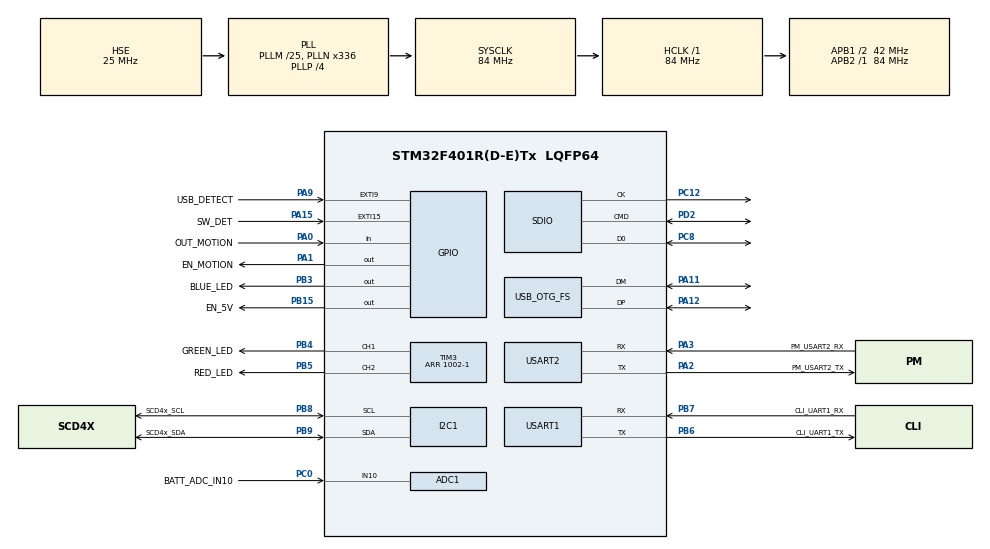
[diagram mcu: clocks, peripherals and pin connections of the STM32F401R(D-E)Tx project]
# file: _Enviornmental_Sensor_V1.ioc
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ADC1.Channel-0\#ChannelRegularConversion=ADC_CHANNEL_10
ADC1.NbrOfConversionFlag=1
ADC1.Rank-0\#ChannelRegularConversion=1
ADC1.SamplingTime-0\#ChannelRegularConversion=ADC_SAMPLETIME_3CYCLES
ADC1.master=1
Dma.Request0=TIM1_UP
Dma.TIM1_UP.0.Direction=DMA_MEMORY_TO_PERIPH
Dma.TIM1_UP.0.FIFOMode=DMA_FIFOMODE_DISABLE
Dma.TIM1_UP.0.Instance=DMA2_Stream5
Dma.TIM1_UP.0.MemDataAlignment=DMA_MDATAALIGN_WORD
Dma.TIM1_UP.0.MemInc=DMA_MINC_ENABLE
Dma.TIM1_UP.0.Mode=DMA_CIRCULAR
Dma.TIM1_UP.0.PeriphDataAlignment=DMA_PDATAALIGN_WORD
Dma.TIM1_UP.0.PeriphInc=DMA_PINC_DISABLE
Dma.TIM1_UP.0.Priority=DMA_PRIORITY_LOW
FATFS._USE_LFN=1
I2C1.I2C_Mode=I2C_Standard
IWDG.Prescaler=IWDG_PRESCALER_256
Mcu.Family=STM32F4
Mcu.Name=STM32F401R(D-E)Tx
Mcu.Package=LQFP64
NVIC.DMA2_Stream5_IRQn=true\:0\:0\:false\:false\:true\:false\:true\:true
NVIC.EXTI15_10_IRQn=true\:0\:0\:false\:false\:true\:true\:true\:true
NVIC.EXTI9_5_IRQn=true\:0\:0\:false\:false\:true\:true\:true\:true
NVIC.OTG_FS_IRQn=true\:0\:0\:false\:false\:true\:false\:true\:true
NVIC.PriorityGroup=NVIC_PRIORITYGROUP_4
NVIC.RTC_Alarm_IRQn=true\:0\:0\:false\:false\:true\:true\:true\:true
NVIC.TIM2_IRQn=true\:0\:0\:false\:false\:true\:true\:true\:true
NVIC.USART1_IRQn=true\:0\:0\:false\:false\:true\:true\:true\:true
NVIC.USART2_IRQn=true\:0\:0\:false\:false\:true\:true\:true\:true
PA0-WKUP.GPIO_Label=OUT_MOTION
PA0-WKUP.Signal=GPIO_Input
PA1.GPIO_Label=EN_MOTION
PA1.GPIO_Speed=GPIO_SPEED_FREQ_HIGH
PA1.PinState=GPIO_PIN_RESET
PA1.Signal=GPIO_Output
PA11.Mode=Device_Only
PA11.Signal=USB_OTG_FS_DM
PA12.Mode=Device_Only
PA12.Signal=USB_OTG_FS_DP
PA13.Mode=Serial_Wire
PA13.Signal=SYS_JTMS-SWDIO
PA14.Mode=Serial_Wire
PA14.Signal=SYS_JTCK-SWCLK
PA15.GPIO_Label=SW_DET
PA15.GPIO_ModeDefaultEXTI=GPIO_MODE_IT_FALLING
PA15.GPIO_PuPd=GPIO_PULLUP
PA15.Signal=GPXTI15
PA2.GPIO_Label=PM_USART2_TX
PA2.Mode=Asynchronous
PA2.Signal=USART2_TX
PA3.GPIO_Label=PM_USART2_RX
PA3.Mode=Asynchronous
PA3.Signal=USART2_RX
PA9.GPIO_Label=USB_DETECT
PA9.GPIO_PuPd=GPIO_PULLDOWN
PA9.Signal=GPXTI9
PB15.GPIO_Label=EN_5V
PB15.GPIO_Speed=GPIO_SPEED_FREQ_HIGH
PB15.PinState=GPIO_PIN_SET
PB15.Signal=GPIO_Output
PB3.GPIO_Label=BLUE_LED
PB3.Signal=GPIO_Output
PB4.GPIO_Label=GREEN_LED
PB4.Signal=S_TIM3_CH1
PB5.GPIO_Label=RED_LED
PB5.Signal=S_TIM3_CH2
PB6.GPIO_Label=CLI_UART1_TX
PB6.Mode=Asynchronous
PB6.Signal=USART1_TX
PB7.GPIO_Label=CLI_UART1_RX
PB7.Mode=Asynchronous
PB7.Signal=USART1_RX
PB8.GPIO_Label=SCD4x_SCL
PB8.Mode=I2C
PB8.Signal=I2C1_SCL
PB9.GPIO_Label=SCD4x_SDA
PB9.Mode=I2C
PB9.Signal=I2C1_SDA
PC0.GPIO_Label=BATT_ADC_IN10
PC0.Signal=ADCx_IN10
PC12.Mode=SD_1_bit
PC12.Signal=SDIO_CK
PC14-OSC32_IN.Mode=LSE-External-Oscillator
PC14-OSC32_IN.Signal=RCC_OSC32_IN
PC15-OSC32_OUT.Mode=LSE-External-Oscillator
PC15-OSC32_OUT.Signal=RCC_OSC32_OUT
PC8.Mode=SD_1_bit
PC8.Signal=SDIO_D0
PD2.Mode=SD_1_bit
PD2.Signal=SDIO_CMD
PH0\ -\ OSC_IN.Mode=HSE-External-Oscillator
PH0\ -\ OSC_IN.Signal=RCC_OSC_IN
PH1\ -\ OSC_OUT.Mode=HSE-External-Oscillator
PH1\ -\ OSC_OUT.Signal=RCC_OSC_OUT
ProjectManager.HeapSize=0x200
ProjectManager.StackSize=0x400
ProjectManager.TargetToolchain=STM32CubeIDE
RCC.48MHZClocksFreq_Value=48000000
RCC.AHBFreq_Value=84000000
RCC.APB1CLKDivider=RCC_HCLK_DIV2
RCC.APB1Freq_Value=42000000
RCC.APB1TimFreq_Value=84000000
RCC.APB2Freq_Value=84000000
RCC.APB2TimFreq_Value=84000000
RCC.CortexFreq_Value=84000000
RCC.HCLKFreq_Value=84000000
RCC.HSE_VALUE=25000000
RCC.HSI_VALUE=16000000
RCC.PLLM=25
RCC.PLLN=336
RCC.PLLP=RCC_PLLP_DIV4
RCC.PLLQ=7
RCC.RCC_RTC_Clock_Source=RCC_RTCCLKSOURCE_LSE
RCC.RCC_RTC_Clock_SourceVirtual=RCC_RTCCLKSOURCE_LSE
RCC.SYSCLKFreq_VALUE=84000000
RCC.SYSCLKSource=RCC_SYSCLKSOURCE_PLLCLK
RCC.VCOOutputFreq_Value=336000000
RTC.Alarm=RTC_ALARM_A
RTC.AlarmMaskDateWeekDay=RTC_ALARMMASK_DATEWEEKDAY
RTC.AlarmMaskHours=RTC_ALARMMASK_HOURS
RTC.AlarmMaskMinutes=RTC_ALARMMASK_MINUTES
RTC.AlarmMaskSeconds=RTC_ALARMMASK_SECONDS
RTC.Alarm_B=RTC_ALARM_B
RTC.Format=RTC_FORMAT_BIN
SDIO.ClockDiv=5
SH.ADCx_IN10.0=ADC1_IN10,IN10
SH.S_TIM3_CH1.0=TIM3_CH1,PWM Generation1 CH1
SH.S_TIM3_CH2.0=TIM3_CH2,PWM Generation2 CH2
TIM1.CounterMode=TIM_COUNTERMODE_DOWN
TIM1.Period=1002-1
TIM1.TIM_MasterOutputTrigger=TIM_TRGO_UPDATE
TIM2.AutoReloadPreload=TIM_AUTORELOAD_PRELOAD_ENABLE
TIM2.Period=8400
TIM2.Prescaler=1000
TIM3.AutoReloadPreload=TIM_AUTORELOAD_PRELOAD_ENABLE
TIM3.Channel-PWM\ Generation1\ CH1=TIM_CHANNEL_1
TIM3.Channel-PWM\ Generation2\ CH2=TIM_CHANNEL_2
TIM3.CounterMode=TIM_COUNTERMODE_DOWN
TIM3.Period=1002-1
USART1.VirtualMode=VM_ASYNC
USART2.VirtualMode=VM_ASYNC
USB_DEVICE.CLASS_NAME_FS=MSC
USB_DEVICE.MANUFACTURER_STRING-MSC_FS=Stmicroelectronics
USB_DEVICE.MSC_MEDIA_PACKET-MSC_FS=2048
USB_DEVICE.PRODUCT_STRING_MSC_FS=Stm32 Mass Storage
USB_DEVICE.USBD_MAX_STR_DESC_SIZ-MSC_FS=512
USB_DEVICE.VirtualMode-MSC_FS=Msc
USB_DEVICE.VirtualModeFS=Msc_FS
USB_OTG_FS.VirtualMode=Device_Only
USB_OTG_FS.low_power_enable=DISABLE
VP_FATFS_VS_SDIO.Mode=SDIO
VP_IWDG_VS_IWDG.Mode=IWDG_Activate
VP_RTC_VS_RTC_Activate.Mode=RTC_Enabled
VP_RTC_VS_RTC_Alarm_A_Intern.Mode=Alarm A
VP_RTC_VS_RTC_Alarm_B_Intern.Mode=Alarm B
VP_RTC_VS_RTC_Calendar.Mode=RTC_Calendar
VP_TIM1_VS_ClockSourceINT.Mode=Internal
VP_TIM2_VS_ClockSourceINT.Mode=Internal
VP_TIM3_VS_ClockSourceINT.Mode=Internal
VP_USB_DEVICE_VS_USB_DEVICE_MSC_FS.Mode=MSC_FS
board=custom

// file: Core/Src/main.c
/* USER CODE BEGIN Header */
/**
  ******************************************************************************
  * @file           : main.c
  * @brief          : Main program body
  ******************************************************************************
  * @attention
  *
  * Copyright (c) 2023 STMicroelectronics.
  * All rights reserved.
  *
  * This software is licensed under terms that can be found in the LICENSE file
  * in the root directory of this software component.
  * If no LICENSE file comes with this software, it is provided AS-IS.
  *
  ******************************************************************************
  */
/* USER CODE END Header */
#include "main.h"
#include "fatfs.h"
#include "usb_device.h"

/* USER CODE BEGIN Includes */
#include "app_main.h"
#include "Uhr.h"

/* USER CODE END Includes */

ADC_HandleTypeDef hadc1;

I2C_HandleTypeDef hi2c1;

IWDG_HandleTypeDef hiwdg;

RTC_HandleTypeDef hrtc;

SD_HandleTypeDef hsd;

TIM_HandleTypeDef htim1;
TIM_HandleTypeDef htim2;
TIM_HandleTypeDef htim3;
DMA_HandleTypeDef hdma_tim1_up;

UART_HandleTypeDef huart1;
UART_HandleTypeDef huart2;

void SystemClock_Config(void);
static void MX_GPIO_Init(void);
static void MX_DMA_Init(void);
static void MX_SDIO_SD_Init(void);
static void MX_USART1_UART_Init(void);
static void MX_RTC_Init(void);
static void MX_I2C1_Init(void);
static void MX_USART2_UART_Init(void);
static void MX_ADC1_Init(void);
static void MX_IWDG_Init(void);
/* USER CODE BEGIN PFP */
extern  void led_awake_routine();
/* USER CODE END PFP */

int main(void)
{

  /* MCU Configuration--------------------------------------------------------*/

  /* Reset of all peripherals, Initializes the Flash interface and the Systick. */
  HAL_Init();

  /* Configure the system clock */
  SystemClock_Config();

  /* USER CODE BEGIN SysInit */
//comment usb initialization from here
#ifdef Disable
  /* USER CODE END SysInit */

  /* Initialize all configured peripherals */
  MX_GPIO_Init();
  MX_DMA_Init();
  MX_SDIO_SD_Init();
  MX_USART1_UART_Init();
  MX_RTC_Init();
  MX_I2C1_Init();
  MX_TIM2_Init();
  MX_USART2_UART_Init();
  MX_ADC1_Init();
  MX_USB_DEVICE_Init();
  MX_FATFS_Init();
  MX_TIM1_Init();
  MX_TIM3_Init();
  MX_IWDG_Init();
  /* USER CODE BEGIN 2 */
#endif
  HAL_Delay(1000);
  MX_GPIO_Init();
  MX_DMA_Init();
  MX_SDIO_SD_Init();
  MX_USART1_UART_Init();
  MX_RTC_Init();
  MX_I2C1_Init();
  MX_TIM2_Init();
  MX_USART2_UART_Init();
  MX_ADC1_Init();
  MX_FATFS_Init();
  MX_TIM1_Init();
  MX_TIM3_Init();
  MX_IWDG_Init();

  app_main(); //keep mx_usb_device_init off here

  /* USER CODE END 2 */

  /* Infinite loop */
  while (1)
  {

  }
}

void SystemClock_Config(void)
{
  RCC_OscInitTypeDef RCC_OscInitStruct = {0};
  RCC_ClkInitTypeDef RCC_ClkInitStruct = {0};

  /** Configure the main internal regulator output voltage
  */
  __HAL_RCC_PWR_CLK_ENABLE();
  __HAL_PWR_VOLTAGESCALING_CONFIG(PWR_REGULATOR_VOLTAGE_SCALE2);

  /** Initializes the RCC Oscillators according to the specified parameters
  * in the RCC_OscInitTypeDef structure.
  */
  RCC_OscInitStruct.OscillatorType = RCC_OSCILLATORTYPE_LSI|RCC_OSCILLATORTYPE_HSE
                              |RCC_OSCILLATORTYPE_LSE;
  RCC_OscInitStruct.HSEState = RCC_HSE_ON;
  RCC_OscInitStruct.LSEState = RCC_LSE_ON;
  RCC_OscInitStruct.LSIState = RCC_LSI_ON;
  RCC_OscInitStruct.PLL.PLLState = RCC_PLL_ON;
  RCC_OscInitStruct.PLL.PLLSource = RCC_PLLSOURCE_HSE;
  RCC_OscInitStruct.PLL.PLLM = 25;
  RCC_OscInitStruct.PLL.PLLN = 336;
  RCC_OscInitStruct.PLL.PLLP = RCC_PLLP_DIV4;
  RCC_OscInitStruct.PLL.PLLQ = 7;
  if (HAL_RCC_OscConfig(&RCC_OscInitStruct) != HAL_OK)
  {
    Error_Handler();
  }

  /** Initializes the CPU, AHB and APB buses clocks
  */
  RCC_ClkInitStruct.ClockType = RCC_CLOCKTYPE_HCLK|RCC_CLOCKTYPE_SYSCLK
                              |RCC_CLOCKTYPE_PCLK1|RCC_CLOCKTYPE_PCLK2;
  RCC_ClkInitStruct.SYSCLKSource = RCC_SYSCLKSOURCE_PLLCLK;
  RCC_ClkInitStruct.AHBCLKDivider = RCC_SYSCLK_DIV1;
  RCC_ClkInitStruct.APB1CLKDivider = RCC_HCLK_DIV2;
  RCC_ClkInitStruct.APB2CLKDivider = RCC_HCLK_DIV1;

  if (HAL_RCC_ClockConfig(&RCC_ClkInitStruct, FLASH_LATENCY_2) != HAL_OK)
  {
    Error_Handler();
  }
}

static void MX_ADC1_Init(void)
{

  ADC_ChannelConfTypeDef sConfig = {0};

  /** Configure the global features of the ADC (Clock, Resolution, Data Alignment and number of conversion)
  */
  hadc1.Instance = ADC1;
  hadc1.Init.ClockPrescaler = ADC_CLOCK_SYNC_PCLK_DIV4;
  hadc1.Init.Resolution = ADC_RESOLUTION_12B;
  hadc1.Init.ScanConvMode = DISABLE;
  hadc1.Init.ContinuousConvMode = DISABLE;
  hadc1.Init.DiscontinuousConvMode = DISABLE;
  hadc1.Init.ExternalTrigConvEdge = ADC_EXTERNALTRIGCONVEDGE_NONE;
  hadc1.Init.ExternalTrigConv = ADC_SOFTWARE_START;
  hadc1.Init.DataAlign = ADC_DATAALIGN_RIGHT;
  hadc1.Init.NbrOfConversion = 1;
  hadc1.Init.DMAContinuousRequests = DISABLE;
  hadc1.Init.EOCSelection = ADC_EOC_SINGLE_CONV;
  if (HAL_ADC_Init(&hadc1) != HAL_OK)
  {
    Error_Handler();
  }

  /** Configure for the selected ADC regular channel its corresponding rank in the sequencer and its sample time.
  */
  sConfig.Channel = ADC_CHANNEL_10;
  sConfig.Rank = 1;
  sConfig.SamplingTime = ADC_SAMPLETIME_3CYCLES;
  if (HAL_ADC_ConfigChannel(&hadc1, &sConfig) != HAL_OK)
  {
    Error_Handler();
  }

}

static void MX_I2C1_Init(void)
{

  hi2c1.Instance = I2C1;
  hi2c1.Init.ClockSpeed = 100000;
  hi2c1.Init.DutyCycle = I2C_DUTYCYCLE_2;
  hi2c1.Init.OwnAddress1 = 0;
  hi2c1.Init.AddressingMode = I2C_ADDRESSINGMODE_7BIT;
  hi2c1.Init.DualAddressMode = I2C_DUALADDRESS_DISABLE;
  hi2c1.Init.OwnAddress2 = 0;
  hi2c1.Init.GeneralCallMode = I2C_GENERALCALL_DISABLE;
  hi2c1.Init.NoStretchMode = I2C_NOSTRETCH_DISABLE;
  if (HAL_I2C_Init(&hi2c1) != HAL_OK)
  {
    Error_Handler();
  }

}

static void MX_IWDG_Init(void)
{

  /* USER CODE BEGIN IWDG_Init 1 */
  //32sec watchdog period set
  /* USER CODE END IWDG_Init 1 */
  hiwdg.Instance = IWDG;
  hiwdg.Init.Prescaler = IWDG_PRESCALER_256;
  hiwdg.Init.Reload = 4095;
  if (HAL_IWDG_Init(&hiwdg) != HAL_OK)
  {
    Error_Handler();
  }

}

static void MX_RTC_Init(void)
{

  /* USER CODE BEGIN RTC_Init 0 */
#ifdef RTC_disable
  /* USER CODE END RTC_Init 0 */

  RTC_TimeTypeDef sTime = {0};
  RTC_DateTypeDef sDate = {0};
  RTC_AlarmTypeDef sAlarm = {0};

  /* USER CODE BEGIN RTC_Init 1 */
#endif
  /* USER CODE END RTC_Init 1 */

  /** Initialize RTC Only
  */
  hrtc.Instance = RTC;
  hrtc.Init.HourFormat = RTC_HOURFORMAT_24;
  hrtc.Init.AsynchPrediv = 127;
  hrtc.Init.SynchPrediv = 255;
  hrtc.Init.OutPut = RTC_OUTPUT_DISABLE;
  hrtc.Init.OutPutPolarity = RTC_OUTPUT_POLARITY_HIGH;
  hrtc.Init.OutPutType = RTC_OUTPUT_TYPE_OPENDRAIN;
  if (HAL_RTC_Init(&hrtc) != HAL_OK)
  {
    Error_Handler();
  }

  /* USER CODE BEGIN Check_RTC_BKUP */
#ifdef RTC_disable
  /* USER CODE END Check_RTC_BKUP */

  /** Initialize RTC and set the Time and Date
  */
  sTime.Hours = 0;
  sTime.Minutes = 0;
  sTime.Seconds = 0;
  sTime.DayLightSaving = RTC_DAYLIGHTSAVING_NONE;
  sTime.StoreOperation = RTC_STOREOPERATION_RESET;
  if (HAL_RTC_SetTime(&hrtc, &sTime, RTC_FORMAT_BIN) != HAL_OK)
  {
    Error_Handler();
  }
  sDate.WeekDay = RTC_WEEKDAY_MONDAY;
  sDate.Month = RTC_MONTH_JANUARY;
  sDate.Date = 1;
  sDate.Year = 0;

  if (HAL_RTC_SetDate(&hrtc, &sDate, RTC_FORMAT_BIN) != HAL_OK)
  {
    Error_Handler();
  }

  /** Enable the Alarm A
  */
  sAlarm.AlarmTime.Hours = 0;
  sAlarm.AlarmTime.Minutes = 0;
  sAlarm.AlarmTime.Seconds = 0;
  sAlarm.AlarmTime.SubSeconds = 0;
  sAlarm.AlarmTime.DayLightSaving = RTC_DAYLIGHTSAVING_NONE;
  sAlarm.AlarmTime.StoreOperation = RTC_STOREOPERATION_RESET;
  sAlarm.AlarmMask = RTC_ALARMMASK_ALL;
  sAlarm.AlarmSubSecondMask = RTC_ALARMSUBSECONDMASK_ALL;
  sAlarm.AlarmDateWeekDaySel = RTC_ALARMDATEWEEKDAYSEL_DATE;
  sAlarm.AlarmDateWeekDay = 1;
  sAlarm.Alarm = RTC_ALARM_A;
  if (HAL_RTC_SetAlarm_IT(&hrtc, &sAlarm, RTC_FORMAT_BIN) != HAL_OK)
  {
    Error_Handler();
  }

  /** Enable the Alarm B
  */
  sAlarm.AlarmMask = RTC_ALARMMASK_NONE;
  sAlarm.Alarm = RTC_ALARM_B;
  if (HAL_RTC_SetAlarm_IT(&hrtc, &sAlarm, RTC_FORMAT_BIN) != HAL_OK)
  {
    Error_Handler();
  }
  /* USER CODE BEGIN RTC_Init 2 */
#endif

  /* USER CODE END RTC_Init 2 */

}

static void MX_SDIO_SD_Init(void)
{

  hsd.Instance = SDIO;
  hsd.Init.ClockEdge = SDIO_CLOCK_EDGE_RISING;
  hsd.Init.ClockBypass = SDIO_CLOCK_BYPASS_DISABLE;
  hsd.Init.ClockPowerSave = SDIO_CLOCK_POWER_SAVE_DISABLE;
  hsd.Init.BusWide = SDIO_BUS_WIDE_1B;
  hsd.Init.HardwareFlowControl = SDIO_HARDWARE_FLOW_CONTROL_DISABLE;
  hsd.Init.ClockDiv = 5;

}

void MX_TIM1_Init(void)
{

  TIM_ClockConfigTypeDef sClockSourceConfig = {0};
  TIM_MasterConfigTypeDef sMasterConfig = {0};

  htim1.Instance = TIM1;
  htim1.Init.Prescaler = 0;
  htim1.Init.CounterMode = TIM_COUNTERMODE_DOWN;
  htim1.Init.Period = 1002-1;
  htim1.Init.ClockDivision = TIM_CLOCKDIVISION_DIV1;
  htim1.Init.RepetitionCounter = 0;
  htim1.Init.AutoReloadPreload = TIM_AUTORELOAD_PRELOAD_DISABLE;
  if (HAL_TIM_Base_Init(&htim1) != HAL_OK)
  {
    Error_Handler();
  }
  sClockSourceConfig.ClockSource = TIM_CLOCKSOURCE_INTERNAL;
  if (HAL_TIM_ConfigClockSource(&htim1, &sClockSourceConfig) != HAL_OK)
  {
    Error_Handler();
  }
  sMasterConfig.MasterOutputTrigger = TIM_TRGO_UPDATE;
  sMasterConfig.MasterSlaveMode = TIM_MASTERSLAVEMODE_DISABLE;
  if (HAL_TIMEx_MasterConfigSynchronization(&htim1, &sMasterConfig) != HAL_OK)
  {
    Error_Handler();
  }

}

void MX_TIM2_Init(void)
{

  TIM_ClockConfigTypeDef sClockSourceConfig = {0};
  TIM_MasterConfigTypeDef sMasterConfig = {0};

  htim2.Instance = TIM2;
  htim2.Init.Prescaler = 1000;
  htim2.Init.CounterMode = TIM_COUNTERMODE_UP;
  htim2.Init.Period = 8400;
  htim2.Init.ClockDivision = TIM_CLOCKDIVISION_DIV1;
  htim2.Init.AutoReloadPreload = TIM_AUTORELOAD_PRELOAD_ENABLE;
  if (HAL_TIM_Base_Init(&htim2) != HAL_OK)
  {
    Error_Handler();
  }
  sClockSourceConfig.ClockSource = TIM_CLOCKSOURCE_INTERNAL;
  if (HAL_TIM_ConfigClockSource(&htim2, &sClockSourceConfig) != HAL_OK)
  {
    Error_Handler();
  }
  sMasterConfig.MasterOutputTrigger = TIM_TRGO_RESET;
  sMasterConfig.MasterSlaveMode = TIM_MASTERSLAVEMODE_DISABLE;
  if (HAL_TIMEx_MasterConfigSynchronization(&htim2, &sMasterConfig) != HAL_OK)
  {
    Error_Handler();
  }

}

void MX_TIM3_Init(void)
{

  TIM_ClockConfigTypeDef sClockSourceConfig = {0};
  TIM_MasterConfigTypeDef sMasterConfig = {0};
  TIM_OC_InitTypeDef sConfigOC = {0};

  htim3.Instance = TIM3;
  htim3.Init.Prescaler = 0;
  htim3.Init.CounterMode = TIM_COUNTERMODE_DOWN;
  htim3.Init.Period = 1002-1;
  htim3.Init.ClockDivision = TIM_CLOCKDIVISION_DIV1;
  htim3.Init.AutoReloadPreload = TIM_AUTORELOAD_PRELOAD_ENABLE;
  if (HAL_TIM_Base_Init(&htim3) != HAL_OK)
  {
    Error_Handler();
  }
  sClockSourceConfig.ClockSource = TIM_CLOCKSOURCE_INTERNAL;
  if (HAL_TIM_ConfigClockSource(&htim3, &sClockSourceConfig) != HAL_OK)
  {
    Error_Handler();
  }
  if (HAL_TIM_PWM_Init(&htim3) != HAL_OK)
  {
    Error_Handler();
  }
  sMasterConfig.MasterOutputTrigger = TIM_TRGO_RESET;
  sMasterConfig.MasterSlaveMode = TIM_MASTERSLAVEMODE_DISABLE;
  if (HAL_TIMEx_MasterConfigSynchronization(&htim3, &sMasterConfig) != HAL_OK)
  {
    Error_Handler();
  }
  sConfigOC.OCMode = TIM_OCMODE_PWM1;
  sConfigOC.Pulse = 0;
  sConfigOC.OCPolarity = TIM_OCPOLARITY_HIGH;
  sConfigOC.OCFastMode = TIM_OCFAST_DISABLE;
  if (HAL_TIM_PWM_ConfigChannel(&htim3, &sConfigOC, TIM_CHANNEL_1) != HAL_OK)
  {
    Error_Handler();
  }
  if (HAL_TIM_PWM_ConfigChannel(&htim3, &sConfigOC, TIM_CHANNEL_2) != HAL_OK)
  {
    Error_Handler();
  }
  HAL_TIM_MspPostInit(&htim3);

}

static void MX_USART1_UART_Init(void)
{

  huart1.Instance = USART1;
  huart1.Init.BaudRate = 115200;
  huart1.Init.WordLength = UART_WORDLENGTH_8B;
  huart1.Init.StopBits = UART_STOPBITS_1;
  huart1.Init.Parity = UART_PARITY_NONE;
  huart1.Init.Mode = UART_MODE_TX_RX;
  huart1.Init.HwFlowCtl = UART_HWCONTROL_NONE;
  huart1.Init.OverSampling = UART_OVERSAMPLING_16;
  if (HAL_UART_Init(&huart1) != HAL_OK)
  {
    Error_Handler();
  }

}

static void MX_USART2_UART_Init(void)
{

  huart2.Instance = USART2;
  huart2.Init.BaudRate = 115200;
  huart2.Init.WordLength = UART_WORDLENGTH_8B;
  huart2.Init.StopBits = UART_STOPBITS_1;
  huart2.Init.Parity = UART_PARITY_NONE;
  huart2.Init.Mode = UART_MODE_TX_RX;
  huart2.Init.HwFlowCtl = UART_HWCONTROL_NONE;
  huart2.Init.OverSampling = UART_OVERSAMPLING_16;
  if (HAL_UART_Init(&huart2) != HAL_OK)
  {
    Error_Handler();
  }

}

static void MX_DMA_Init(void)
{

  /* DMA controller clock enable */
  __HAL_RCC_DMA2_CLK_ENABLE();

  /* DMA interrupt init */
  /* DMA2_Stream5_IRQn interrupt configuration */
  HAL_NVIC_SetPriority(DMA2_Stream5_IRQn, 0, 0);
  HAL_NVIC_EnableIRQ(DMA2_Stream5_IRQn);

}

static void MX_GPIO_Init(void)
{
  GPIO_InitTypeDef GPIO_InitStruct = {0};

  /* GPIO Ports Clock Enable */
  __HAL_RCC_GPIOC_CLK_ENABLE();
  __HAL_RCC_GPIOH_CLK_ENABLE();
  __HAL_RCC_GPIOA_CLK_ENABLE();
  __HAL_RCC_GPIOB_CLK_ENABLE();
  __HAL_RCC_GPIOD_CLK_ENABLE();

  /*Configure GPIO pin Output Level */
  HAL_GPIO_WritePin(EN_MOTION_GPIO_Port, EN_MOTION_Pin, GPIO_PIN_RESET);

  /*Configure GPIO pin Output Level */
  HAL_GPIO_WritePin(EN_5V_GPIO_Port, EN_5V_Pin, GPIO_PIN_SET);

  /*Configure GPIO pin Output Level */
  HAL_GPIO_WritePin(BLUE_LED_GPIO_Port, BLUE_LED_Pin, GPIO_PIN_RESET);

  /*Configure GPIO pins : PC13 PC1 PC2 PC3
                           PC4 PC5 PC6 PC7
                           PC9 PC10 PC11 */
  GPIO_InitStruct.Pin = GPIO_PIN_13|GPIO_PIN_1|GPIO_PIN_2|GPIO_PIN_3
                          |GPIO_PIN_4|GPIO_PIN_5|GPIO_PIN_6|GPIO_PIN_7
                          |GPIO_PIN_9|GPIO_PIN_10|GPIO_PIN_11;
  GPIO_InitStruct.Mode = GPIO_MODE_ANALOG;
  GPIO_InitStruct.Pull = GPIO_NOPULL;
  HAL_GPIO_Init(GPIOC, &GPIO_InitStruct);

  /*Configure GPIO pin : OUT_MOTION_Pin */
  GPIO_InitStruct.Pin = OUT_MOTION_Pin;
  GPIO_InitStruct.Mode = GPIO_MODE_INPUT;
  GPIO_InitStruct.Pull = GPIO_NOPULL;
  HAL_GPIO_Init(OUT_MOTION_GPIO_Port, &GPIO_InitStruct);

  /*Configure GPIO pin : EN_MOTION_Pin */
  GPIO_InitStruct.Pin = EN_MOTION_Pin;
  GPIO_InitStruct.Mode = GPIO_MODE_OUTPUT_PP;
  GPIO_InitStruct.Pull = GPIO_NOPULL;
  GPIO_InitStruct.Speed = GPIO_SPEED_FREQ_HIGH;
  HAL_GPIO_Init(EN_MOTION_GPIO_Port, &GPIO_InitStruct);

  /*Configure GPIO pins : PA4 PA5 PA6 PA7
                           PA8 PA10 */
  GPIO_InitStruct.Pin = GPIO_PIN_4|GPIO_PIN_5|GPIO_PIN_6|GPIO_PIN_7
                          |GPIO_PIN_8|GPIO_PIN_10;
  GPIO_InitStruct.Mode = GPIO_MODE_ANALOG;
  GPIO_InitStruct.Pull = GPIO_NOPULL;
  HAL_GPIO_Init(GPIOA, &GPIO_InitStruct);

  /*Configure GPIO pins : PB0 PB1 PB2 PB10
                           PB12 PB13 PB14 */
  GPIO_InitStruct.Pin = GPIO_PIN_0|GPIO_PIN_1|GPIO_PIN_2|GPIO_PIN_10
                          |GPIO_PIN_12|GPIO_PIN_13|GPIO_PIN_14;
  GPIO_InitStruct.Mode = GPIO_MODE_ANALOG;
  GPIO_InitStruct.Pull = GPIO_NOPULL;
  HAL_GPIO_Init(GPIOB, &GPIO_InitStruct);

  /*Configure GPIO pin : EN_5V_Pin */
  GPIO_InitStruct.Pin = EN_5V_Pin;
  GPIO_InitStruct.Mode = GPIO_MODE_OUTPUT_PP;
  GPIO_InitStruct.Pull = GPIO_NOPULL;
  GPIO_InitStruct.Speed = GPIO_SPEED_FREQ_HIGH;
  HAL_GPIO_Init(EN_5V_GPIO_Port, &GPIO_InitStruct);

  /*Configure GPIO pin : USB_DETECT_Pin */
  GPIO_InitStruct.Pin = USB_DETECT_Pin;
  GPIO_InitStruct.Mode = GPIO_MODE_IT_RISING;
  GPIO_InitStruct.Pull = GPIO_PULLDOWN;
  HAL_GPIO_Init(USB_DETECT_GPIO_Port, &GPIO_InitStruct);

  /*Configure GPIO pin : SW_DET_Pin */
  GPIO_InitStruct.Pin = SW_DET_Pin;
  GPIO_InitStruct.Mode = GPIO_MODE_IT_FALLING;
  GPIO_InitStruct.Pull = GPIO_PULLUP;
  HAL_GPIO_Init(SW_DET_GPIO_Port, &GPIO_InitStruct);

  /*Configure GPIO pin : BLUE_LED_Pin */
  GPIO_InitStruct.Pin = BLUE_LED_Pin;
  GPIO_InitStruct.Mode = GPIO_MODE_OUTPUT_PP;
  GPIO_InitStruct.Pull = GPIO_NOPULL;
  GPIO_InitStruct.Speed = GPIO_SPEED_FREQ_LOW;
  HAL_GPIO_Init(BLUE_LED_GPIO_Port, &GPIO_InitStruct);

  /* EXTI interrupt init*/
  HAL_NVIC_SetPriority(EXTI9_5_IRQn, 0, 0);
  HAL_NVIC_EnableIRQ(EXTI9_5_IRQn);

  HAL_NVIC_SetPriority(EXTI15_10_IRQn, 0, 0);
  HAL_NVIC_EnableIRQ(EXTI15_10_IRQn);

}

/* USER CODE BEGIN 4 */

void gpio_analog()
{  GPIO_InitTypeDef GPIO_InitStruct = {0};
	  __HAL_RCC_GPIOC_CLK_ENABLE();
	  __HAL_RCC_GPIOH_CLK_ENABLE();
	  __HAL_RCC_GPIOA_CLK_ENABLE();
	  __HAL_RCC_GPIOB_CLK_ENABLE();
	  __HAL_RCC_GPIOD_CLK_ENABLE();

//	  GPIO_InitStruct.Pin = BLUE_LED_Pin;
//	  GPIO_InitStruct.Mode = GPIO_MODE_ANALOG;
//	  GPIO_InitStruct.Pull = GPIO_NOPULL;
//	  GPIO_InitStruct.Speed = GPIO_SPEED_FREQ_LOW;
//	  HAL_GPIO_Init(BLUE_LED_GPIO_Port, &GPIO_InitStruct);

	  GPIO_InitStruct.Pin = EN_5V_Pin;
	  GPIO_InitStruct.Mode = GPIO_MODE_ANALOG;
	  GPIO_InitStruct.Pull = GPIO_NOPULL;
	  GPIO_InitStruct.Speed = GPIO_SPEED_FREQ_LOW;
	  HAL_GPIO_Init(EN_5V_GPIO_Port, &GPIO_InitStruct);

	  /*Configure GPIO pin : OUT_MOTION_Pin */
	  GPIO_InitStruct.Pin = OUT_MOTION_Pin;
	  GPIO_InitStruct.Mode = GPIO_MODE_ANALOG;
	  GPIO_InitStruct.Pull = GPIO_NOPULL;
	  GPIO_InitStruct.Speed = GPIO_SPEED_FREQ_LOW;
	  HAL_GPIO_Init(OUT_MOTION_GPIO_Port, &GPIO_InitStruct);

	  /*Configure GPIO pin : EN_MOTION_Pin */
	  GPIO_InitStruct.Pin = EN_MOTION_Pin;
	  GPIO_InitStruct.Mode = GPIO_MODE_ANALOG;
	  GPIO_InitStruct.Pull = GPIO_NOPULL;
	  GPIO_InitStruct.Speed = GPIO_SPEED_FREQ_LOW;
	  HAL_GPIO_Init(EN_MOTION_GPIO_Port, &GPIO_InitStruct);

	  GPIO_InitStruct.Pin = GPIO_PIN_14|GPIO_PIN_13;
	  GPIO_InitStruct.Mode = GPIO_MODE_ANALOG;
	  GPIO_InitStruct.Pull = GPIO_NOPULL;
	  GPIO_InitStruct.Speed = GPIO_SPEED_FREQ_LOW;
	  HAL_GPIO_Init(GPIOA, &GPIO_InitStruct);

}
void i2c1_gpio_analog()
{
	  GPIO_InitTypeDef GPIO_InitStruct = {0};
    GPIO_InitStruct.Pin = SCD4x_SCL_Pin|SCD4x_SDA_Pin;
	  GPIO_InitStruct.Mode = GPIO_MODE_ANALOG;
	  GPIO_InitStruct.Pull = GPIO_NOPULL;
	  GPIO_InitStruct.Speed = GPIO_SPEED_FREQ_LOW;
    HAL_GPIO_Init(GPIOB, &GPIO_InitStruct);

}
void uart_gpio_analog()
{  GPIO_InitTypeDef GPIO_InitStruct = {0};
    GPIO_InitStruct.Pin = CLI_UART1_TX_Pin|CLI_UART1_RX_Pin;
	  GPIO_InitStruct.Mode = GPIO_MODE_ANALOG;
	  GPIO_InitStruct.Pull = GPIO_NOPULL;
	  GPIO_InitStruct.Speed = GPIO_SPEED_FREQ_LOW;
    HAL_GPIO_Init(GPIOB, &GPIO_InitStruct);

    GPIO_InitStruct.Pin = PM_USART2_TX_Pin|PM_USART2_RX_Pin;
	  GPIO_InitStruct.Mode = GPIO_MODE_ANALOG;
	  GPIO_InitStruct.Pull = GPIO_NOPULL;
	  GPIO_InitStruct.Speed = GPIO_SPEED_FREQ_LOW;
    HAL_GPIO_Init(GPIOA, &GPIO_InitStruct);
}
void usb_gpio_analog()
{
	 GPIO_InitTypeDef GPIO_InitStruct = {0};
	    GPIO_InitStruct.Pin = GPIO_PIN_11|GPIO_PIN_12;
		  GPIO_InitStruct.Mode = GPIO_MODE_ANALOG;
		  GPIO_InitStruct.Pull = GPIO_NOPULL;
		  GPIO_InitStruct.Speed = GPIO_SPEED_FREQ_LOW;
	    HAL_GPIO_Init(GPIOA, &GPIO_InitStruct);

}
void timer_gpio_analog()
{  GPIO_InitTypeDef GPIO_InitStruct = {0};
    GPIO_InitStruct.Pin = GREEN_LED_Pin|RED_LED_Pin;
	  GPIO_InitStruct.Mode = GPIO_MODE_ANALOG;
	  GPIO_InitStruct.Pull = GPIO_NOPULL;
	  GPIO_InitStruct.Speed = GPIO_SPEED_FREQ_LOW;
    HAL_GPIO_Init(GPIOB, &GPIO_InitStruct);

}

void gpio_disable()
{
	i2c1_gpio_analog();
	 uart_gpio_analog();
	// usb_gpio_analog();
	 timer_gpio_analog();
	 gpio_analog();

//	 GPIO_InitTypeDef GPIO_InitStruct = {0};
//	    GPIO_InitStruct.Pin = GPIO_PIN_8|GPIO_PIN_12;
//		  GPIO_InitStruct.Mode = GPIO_MODE_ANALOG;
//		  GPIO_InitStruct.Pull = GPIO_NOPULL;
//		  GPIO_InitStruct.Speed = GPIO_SPEED_FREQ_LOW;
//	    HAL_GPIO_Init(GPIOC, &GPIO_InitStruct);
//
//	    GPIO_InitStruct.Pin = GPIO_PIN_2;
//		  GPIO_InitStruct.Mode = GPIO_MODE_ANALOG;
//		  GPIO_InitStruct.Pull = GPIO_NOPULL;
//		  GPIO_InitStruct.Speed = GPIO_SPEED_FREQ_LOW;
//	    HAL_GPIO_Init(GPIOD, &GPIO_InitStruct);

}
void gpio_enable()
{
	  GPIO_InitTypeDef GPIO_InitStruct = {0};
	/* USER CODE BEGIN MX_GPIO_Init_1 */
	/* USER CODE END MX_GPIO_Init_1 */

	  /* GPIO Ports Clock Enable */
	  __HAL_RCC_GPIOC_CLK_ENABLE();
	  __HAL_RCC_GPIOH_CLK_ENABLE();
	  __HAL_RCC_GPIOA_CLK_ENABLE();
	  __HAL_RCC_GPIOB_CLK_ENABLE();
	  __HAL_RCC_GPIOD_CLK_ENABLE();

	  /*Configure GPIO pin Output Level */
	  HAL_GPIO_WritePin(EN_MOTION_GPIO_Port, EN_MOTION_Pin, GPIO_PIN_RESET);

	  /*Configure GPIO pin Output Level */
	  HAL_GPIO_WritePin(EN_5V_GPIO_Port, EN_5V_Pin, GPIO_PIN_SET);

	  /*Configure GPIO pin Output Level */

	  /*Configure GPIO pin : OUT_MOTION_Pin */
	  GPIO_InitStruct.Pin = OUT_MOTION_Pin;
	  GPIO_InitStruct.Mode = GPIO_MODE_INPUT;
	  GPIO_InitStruct.Pull = GPIO_NOPULL;
	  HAL_GPIO_Init(OUT_MOTION_GPIO_Port, &GPIO_InitStruct);

	  /*Configure GPIO pin : EN_MOTION_Pin */
	  GPIO_InitStruct.Pin = EN_MOTION_Pin;
	  GPIO_InitStruct.Mode = GPIO_MODE_OUTPUT_PP;
	  GPIO_InitStruct.Pull = GPIO_NOPULL;
	  GPIO_InitStruct.Speed = GPIO_SPEED_FREQ_HIGH;
	  HAL_GPIO_Init(EN_MOTION_GPIO_Port, &GPIO_InitStruct);

	  /*Configure GPIO pin : EN_5V_Pin */
	  GPIO_InitStruct.Pin = EN_5V_Pin;
	  GPIO_InitStruct.Mode = GPIO_MODE_OUTPUT_PP;
	  GPIO_InitStruct.Pull = GPIO_NOPULL;
	  GPIO_InitStruct.Speed = GPIO_SPEED_FREQ_HIGH;
	  HAL_GPIO_Init(EN_5V_GPIO_Port, &GPIO_InitStruct);

	  /* EXTI interrupt init*/
	  HAL_NVIC_SetPriority(EXTI9_5_IRQn, 0, 0);
	  HAL_NVIC_EnableIRQ(EXTI9_5_IRQn);

	  HAL_NVIC_SetPriority(EXTI15_10_IRQn, 0, 0);
	  HAL_NVIC_EnableIRQ(EXTI15_10_IRQn);

//	    GPIO_InitStruct.Pin = GPIO_PIN_8|GPIO_PIN_12;
//	    GPIO_InitStruct.Mode = GPIO_MODE_AF_PP;
//	    GPIO_InitStruct.Pull = GPIO_NOPULL;
//	    GPIO_InitStruct.Speed = GPIO_SPEED_FREQ_VERY_HIGH;
//	    GPIO_InitStruct.Alternate = GPIO_AF12_SDIO;
//	    HAL_GPIO_Init(GPIOC, &GPIO_InitStruct);
//
//	    GPIO_InitStruct.Pin = GPIO_PIN_2;
//	    GPIO_InitStruct.Mode = GPIO_MODE_AF_PP;
//	    GPIO_InitStruct.Pull = GPIO_NOPULL;
//	    GPIO_InitStruct.Speed = GPIO_SPEED_FREQ_VERY_HIGH;
//	    GPIO_InitStruct.Alternate = GPIO_AF12_SDIO;
//	    HAL_GPIO_Init(GPIOD, &GPIO_InitStruct);
}

void HAL_TIM_PeriodElapsedCallback(TIM_HandleTypeDef *htim)
{

if(htim->Instance == TIM2)
{
	timer_interrupt();
}

}

void HAL_GPIO_EXTI_Callback(uint16_t GPIO_Pin)
{
    if(GPIO_Pin == OUT_MOTION_Pin) // If The INT Source Is EXTI Line9 (A9 Pin)
    {
    	pir_interrupt();
    }
    if(GPIO_Pin == USB_DETECT_Pin)
    {
        _RunTime_Packet.showPrompt = 1;
        _RunTime_Packet.usb_detection = 1;
        _RunTime_Packet.usb_start_timer = 1;
        usb_time_keep = 0;
        prev_usb_time_ = HAL_GetTick();
		prev_sleep_time = HAL_GetTick();
    }
    if(GPIO_Pin == SW_DET_Pin)
    {
    	power_off_detect();
    }
}

void HAL_RTC_AlarmAEventCallback(RTC_HandleTypeDef *hrtc)
{
	RtcInt();
}

void HAL_UART_ErrorCallback(UART_HandleTypeDef *huart) {

  if(huart == &huart1) //console uart
    {

      //HMI_uart_err = 1;
	 // _RunTime_Packet.console_uart_error = 1;
      __HAL_UART_CLEAR_FLAG(huart,huart->ErrorCode);

    }
  else if(huart == &huart2) //sps30 uart
    {
   //   _RunTime_Packet.sps30_uart_error = 1;
      __HAL_UART_CLEAR_FLAG(huart,huart->ErrorCode);
    }

}
/* USER CODE END 4 */

void Error_Handler(void)
{
  /* USER CODE BEGIN Error_Handler_Debug */
  /* User can add his own implementation to report the HAL error return state */
  __disable_irq();
  HAL_NVIC_SystemReset();
  while (1)
  {
  }
  /* USER CODE END Error_Handler_Debug */
}
